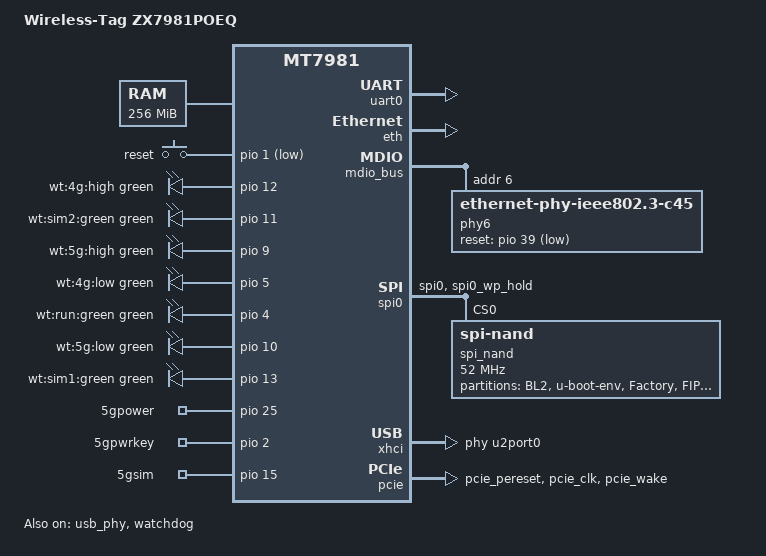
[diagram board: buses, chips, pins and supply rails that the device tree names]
/dts-v1/;

#include "mt7981.dtsi"
#include <dt-bindings/gpio/gpio.h>
#include <dt-bindings/input/input.h>
#include <dt-bindings/leds/common.h>

/ {
	model = "Wireless-Tag ZX7981POEQ";
	compatible = "wirelesstag,zx7981poeq", "mediatek,mt7981";

	aliases {
		ethernet0 = &gmac0;
		ethernet1 = &gmac1;
		serial0 = &uart0;
	};
	
	chosen {
		stdout-path = "serial0:115200n8";
	};

	memory {
		reg = <0 0x40000000 0 0x10000000>;
	};

	gpio-keys {
		compatible = "gpio-keys";

		button-reset {
			label = "reset";
			linux,code = <KEY_RESTART>;
			gpios = <&pio 1 GPIO_ACTIVE_LOW>;
		};
	};

	gpio-leds {
		compatible = "gpio-leds";

		led-0 {
			label = "wt:4g:high";
			color = <LED_COLOR_ID_GREEN>;
			gpios = <&pio 12 GPIO_ACTIVE_HIGH>;
			default-state = "off";
		};

		led-1 {
			label = "wt:sim2:green";
			color = <LED_COLOR_ID_GREEN>;
			gpios = <&pio 11 GPIO_ACTIVE_HIGH>;
			default-state = "off";
		};

		led-2 {
			label = "wt:5g:high";
			color = <LED_COLOR_ID_GREEN>;
			gpios = <&pio 9 GPIO_ACTIVE_HIGH>;
			default-state = "off";
		};

		led-3 {
			label = "wt:4g:low";
			color = <LED_COLOR_ID_GREEN>;
			gpios = <&pio 5 GPIO_ACTIVE_HIGH>;
			default-state = "off";
		};

		led-4 {
			label = "wt:run:green";
			color = <LED_COLOR_ID_GREEN>;
			gpios = <&pio 4 GPIO_ACTIVE_HIGH>;
			default-state = "off";
		};

		led-5 {
			label = "wt:5g:low";
			color = <LED_COLOR_ID_GREEN>;
			gpios = <&pio 10 GPIO_ACTIVE_HIGH>;
			default-state = "off";
		};

		led-6 {
			label = "wt:sim1:green";
			color = <LED_COLOR_ID_GREEN>;
			gpios = <&pio 13 GPIO_ACTIVE_HIGH>;
			default-state = "off";
		};

	};

	gpio-export {
		compatible = "gpio-export";

		5gpower {
			gpio-export,name = "5gpower";
			gpio-export,output = <0>;
			gpios = <&pio 25 0>;
		};

		5gpwrkey {
			gpio-export,name = "5gpwrkey";
			gpio-export,output = <0>;
			gpios = <&pio 2 0>;
		};

		5gsim {
			gpio-export,name = "5gsim";
			gpio-export,output = <1>;
			gpios = <&pio 15 0>;
		};
	};
};

&uart0 {
	status = "okay";
};

&eth {
        pinctrl-names = "default";
        pinctrl-0 = <&mdio_pins>;

        status = "okay";

        gmac0: mac@0 {
                compatible = "mediatek,eth-mac";
                reg = <0>;
                phy-mode = "2500base-x";
                phy-handle = <&phy6>;
                nvmem-cell-names = "mac-address";
                nvmem-cells = <&macaddr_factory_4 (-1)>;
        };
		// FAKE ETH1 interface dedicated to USB Offload
        gmac1: mac@1 {
                compatible = "mediatek,eth-mac";
                reg = <1>;
                phy-mode = "gmii";
                phy-handle = <&int_gbe_phy>;
        };
};

&mdio_bus {

        phy6: ethernet-phy@6 {
                compatible = "ethernet-phy-ieee802.3-c45";
                reg = <6>;
                reset-assert-us = <100000>;
                reset-deassert-us = <100000>;
                reset-gpios = <&pio 39 GPIO_ACTIVE_LOW>;
        };
};

&spi0 {
	pinctrl-names = "default";
	pinctrl-0 = <&spi0_flash_pins>;
	status = "okay";

	spi_nand: flash@0 {
		#address-cells = <1>;
		#size-cells = <1>;
		compatible = "spi-nand";
		reg = <0>;
		spi-max-frequency = <52000000>;
		spi-tx-bus-width = <4>;
		spi-rx-bus-width = <4>;

		mediatek,nmbm;
		mediatek,bmt-max-ratio = <1>;
		mediatek,bmt-max-reserved-blocks = <64>;

		partitions {
			compatible = "fixed-partitions";
			#address-cells = <1>;
			#size-cells = <1>;

			partition@0 {
				label = "BL2";
				reg = <0x00000 0x0100000>;
			};

			partition@100000 {
				label = "u-boot-env";
				reg = <0x0100000 0x0080000>;
			};

			partition@180000 {
				label = "Factory";
				reg = <0x180000 0x200000>;
				read-only;

				nvmem-layout {
					compatible = "fixed-layout";
					#address-cells = <1>;
					#size-cells = <1>;

					eeprom_factory_0: eeprom@0 {
						reg = <0x0 0x1000>;
					};

					macaddr_factory_4: macaddr@4 {
						compatible = "mac-base";
						reg = <0x4 0x6>;
						#nvmem-cell-cells = <1>;
					};
				};
			};

			partition@380000 {
				label = "FIP";
				reg = <0x380000 0x0200000>;
			};

			partition@580000 {
				label = "woem";
				reg = <0x580000 0xa0000>;
			};

			partition@620000 {
				label = "ubi";
				reg = <0x620000 0x3800000>;
			};

			partition@3E20000 {
				label = "ubi2";
				reg = <0x3E20000 0x3800000>;
			};

			partition@7620000 {
				label = "wtinfo";
				reg = <0x7620000 0x60000>;
			};

			partition@7680000 {
				label = "nvram";
				reg = <0x7680000 0x60000>;
			};
		};
	};
};

&pio {
	spi0_flash_pins: spi0-pins {
		mux {
			function = "spi";
			groups = "spi0", "spi0_wp_hold";
		};
	};
	pcie_pins: pcie-pins {
		mux {
			function = "pcie";
			groups = "pcie_pereset", "pcie_clk", "pcie_wake";
		};
	};
};

&usb_phy {
	status = "okay";
};

&xhci {
	phys = <&u2port0 PHY_TYPE_USB2>;
	mediatek,u3p-dis-msk = <0x01>;
	status = "okay";
};


&pcie {
	pinctrl-names = "default";
	pinctrl-0 = <&pcie_pins>;
	status = "okay";
};

&watchdog {
	status = "okay";
};
